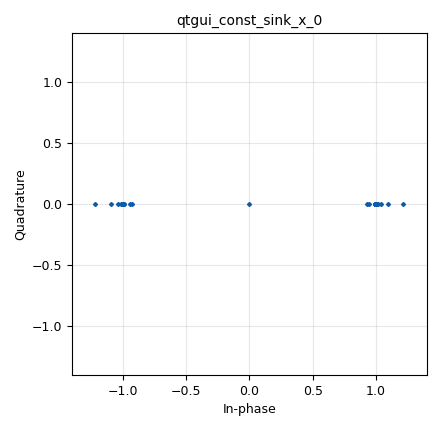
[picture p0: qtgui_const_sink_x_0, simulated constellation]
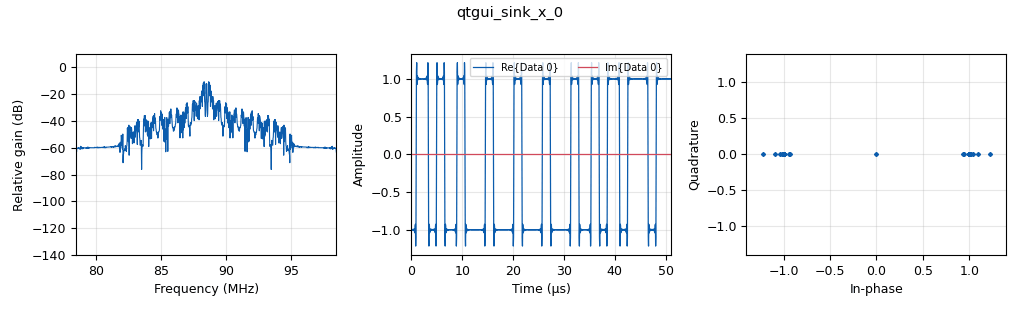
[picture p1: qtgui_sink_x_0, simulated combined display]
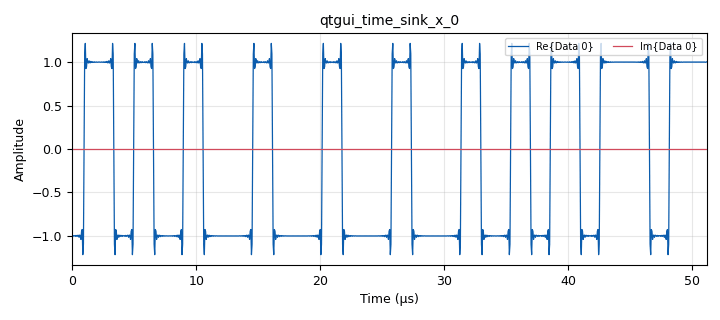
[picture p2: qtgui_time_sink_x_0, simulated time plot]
<?xml version='1.0' encoding='utf-8'?>
<?grc format='1' created='3.7.13'?>
<flow_graph>
<block>
<key>options</key>
<param><key>id</key><value>top_block</value></param>
<param><key>generate_options</key><value>qt_gui</value></param>
</block>
<block>
<key>variable</key>
<param><key>id</key><value>samp_rate</value></param>
<param><key>value</key><value>20e6</value></param>
</block>
<block>
<key>analog_sig_source_x</key>
<param><key>id</key><value>analog_sig_source_x_0</value></param>
<param><key>amp</key><value>1</value></param>
<param><key>freq</key><value>88.5e6</value></param>
<param><key>offset</key><value>0</value></param>
<param><key>type</key><value>float</value></param>
<param><key>samp_rate</key><value>samp_rate</value></param>
<param><key>waveform</key><value>analog.GR_COS_WAVE</value></param>
</block>
<block>
<key>blocks_float_to_uchar</key>
<param><key>id</key><value>blocks_float_to_uchar_0</value></param>
</block>
<block>
<key>digital_dxpsk_mod</key>
<param><key>id</key><value>digital_dxpsk_mod_0</value></param>
<param><key>excess_bw</key><value>0.35</value></param>
<param><key>mod_code</key><value>"gray"</value></param>
<param><key>log</key><value>False</value></param>
<param><key>samples_per_symbol</key><value>2</value></param>
<param><key>type</key><value>dbpsk</value></param>
<param><key>verbose</key><value>False</value></param>
</block>
<block>
<key>qtgui_const_sink_x</key>
<param><key>id</key><value>qtgui_const_sink_x_0</value></param>
<param><key>autoscale</key><value>True</value></param>
<param><key>size</key><value>1024</value></param>
<param><key>type</key><value>complex</value></param>
</block>
<block>
<key>qtgui_sink_x</key>
<param><key>id</key><value>qtgui_sink_x_0</value></param>
<param><key>bw</key><value>samp_rate</value></param>
<param><key>fc</key><value>88.5e6</value></param>
<param><key>freqchangevar</key><value>None</value></param>
<param><key>fftsize</key><value>1024</value></param>
<param><key>showports</key><value>True</value></param>
<param><key>type</key><value>complex</value></param>
<param><key>wintype</key><value>firdes.WIN_RECTANGULAR</value></param>
</block>
<block>
<key>qtgui_time_sink_x</key>
<param><key>id</key><value>qtgui_time_sink_x_0</value></param>
<param><key>autoscale</key><value>True</value></param>
<param><key>color1</key><value>"blue"</value></param>
<param><key>label1</key><value></value></param>
<param><key>color2</key><value>"red"</value></param>
<param><key>label2</key><value></value></param>
<param><key>size</key><value>1024</value></param>
<param><key>srate</key><value>samp_rate</value></param>
<param><key>type</key><value>complex</value></param>
</block>
<connection><source_block_id>analog_sig_source_x_0</source_block_id><sink_block_id>blocks_float_to_uchar_0</sink_block_id><source_key>0</source_key><sink_key>0</sink_key></connection>
<connection><source_block_id>blocks_float_to_uchar_0</source_block_id><sink_block_id>digital_dxpsk_mod_0</sink_block_id><source_key>0</source_key><sink_key>0</sink_key></connection>
<connection><source_block_id>digital_dxpsk_mod_0</source_block_id><sink_block_id>qtgui_const_sink_x_0</sink_block_id><source_key>0</source_key><sink_key>0</sink_key></connection>
<connection><source_block_id>digital_dxpsk_mod_0</source_block_id><sink_block_id>qtgui_sink_x_0</sink_block_id><source_key>0</source_key><sink_key>0</sink_key></connection>
<connection><source_block_id>digital_dxpsk_mod_0</source_block_id><sink_block_id>qtgui_time_sink_x_0</sink_block_id><source_key>0</source_key><sink_key>0</sink_key></connection>
</flow_graph>
